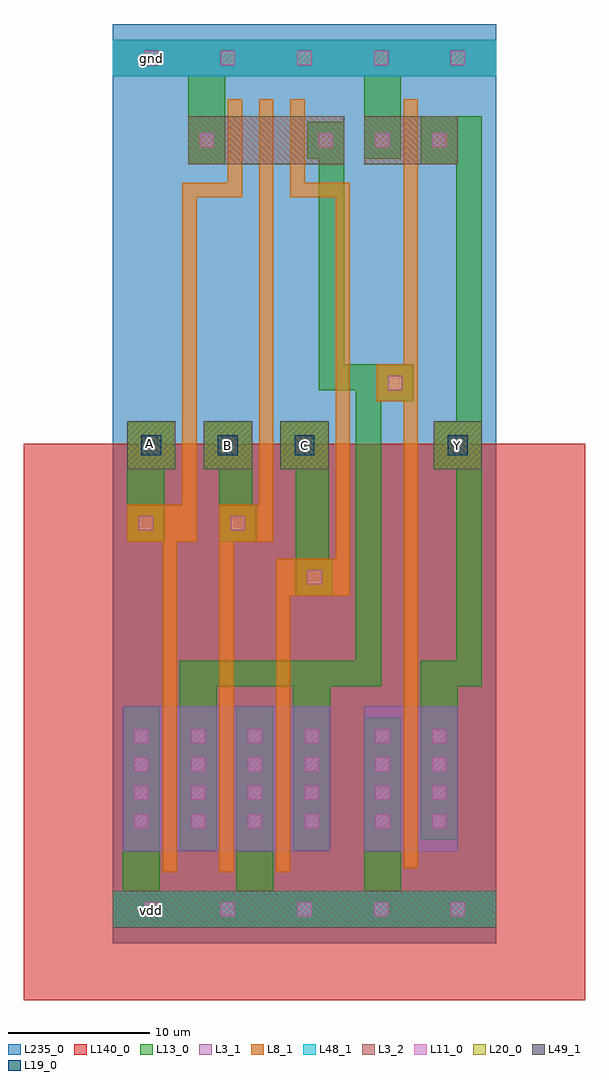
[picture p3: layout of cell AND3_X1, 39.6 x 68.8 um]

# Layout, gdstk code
import gdstk
lib = gdstk.Library(unit=1e-6, precision=1e-09)
def R(c, l, rs):  # rectangles x0, y0, x1, y1
    for r in rs: c.add(gdstk.rectangle(r[:2], r[2:], *l))
def A(c, l, x, y, w, h, nx, ny, dx, dy):  # array of equal rectangles
    R(c, l, [(x+i*dx, y+j*dy, x+i*dx+w, y+j*dy+h) for i in range(nx) for j in range(ny)])
def P(c, l, *ps):  # polygons
    for p in ps: c.add(gdstk.Polygon(p, *l))
L3_1 = (3, 1)
L3_2 = (3, 2)
L8_1 = (8, 1)
L11_0 = (11, 0)
L13_0 = (13, 0)
L19_0 = (19, 0)
L20_0 = (20, 0)
L48_1 = (48, 1)
L49_1 = (49, 1)
L140_0 = (140, 0)
L235_0 = (235, 0)

and3_x1 = lib.new_cell('AND3_X1')
R(and3_x1, L3_1, [(0.7,-58.3,7.3,-48.1), (4.7,-58.3,11.3,-48.1), (11.3,-58.3,15.3,-48.1), (17.7,-58.3,24.3,-48.1), (0,-3.7,27,-1.1)])
R(and3_x1, L3_2, [(0,-63.7,27,-61.1), (5.3,-9.9,16.3,-6.5), (17.7,-9.9,24.3,-6.5)])
P(and3_x1, L8_1, [(20.5,-59.5),(20.5,-26.6),(18.6,-26.6),(18.6,-24),(20.5,-24),(20.5,-5.3),(21.5,-5.3),(21.5,-59.5)],
  [(3.5,-59.8),(3.5,-36.5),(1,-36.5),(1,-33.9),(4.9,-33.9),(4.9,-11.2),(8.1,-11.2),(8.1,-5.3),(9.1,-5.3),(9.1,-12.2),(5.9,-12.2),(5.9,-36.5),(4.5,-36.5),(4.5,-59.8)],
  [(7.5,-59.8),(7.5,-33.9),(10.3,-33.9),(10.3,-5.3),(11.3,-5.3),(11.3,-36.5),(8.5,-36.5),(8.5,-59.8)],
  [(11.5,-59.8),(11.5,-37.7),(15.7,-37.7),(15.7,-12.2),(12.5,-12.2),(12.5,-5.3),(13.5,-5.3),(13.5,-11.2),(16.7,-11.2),(16.7,-40.3),(12.5,-40.3),(12.5,-59.8)])
A(and3_x1, L11_0, 13, -62.9, 1, 1, 3, 2, 5.4, 60)
A(and3_x1, L11_0, 1.5, -56.7, 1, 1, 4, 4, 4, 2)
A(and3_x1, L11_0, 18.5, -56.7, 1, 1, 1, 4, 0, 2)
A(and3_x1, L11_0, 22.5, -56.7, 1, 1, 1, 4, 0, 2)
A(and3_x1, L11_0, 14.5, -8.7, 1, 1, 3, 1, 4, 0)
R(and3_x1, L11_0, [(2.2,-62.9,3.2,-61.9), (2.2,-62.9,3.2,-61.9), (7.6,-62.9,8.6,-61.9), (7.6,-62.9,8.6,-61.9), (7.6,-62.9,8.6,-61.9), (7.6,-62.9,8.6,-61.9), (13,-62.9,14,-61.9), (13.7,-39.5,14.7,-38.5), (1.8,-35.7,2.8,-34.7), (8.3,-35.7,9.3,-34.7), (19.4,-25.8,20.4,-24.8), (6.1,-8.7,7.1,-7.7), (2.2,-2.9,3.2,-1.9), (7.6,-2.9,8.6,-1.9), (7.6,-2.9,8.6,-1.9), (13,-2.9,14,-1.9)])
R(and3_x1, L13_0, [(0,-63.7,27,-61.1), (0.7,-61.1,3.3,-48.1), (8.7,-61.1,11.3,-48.1), (17.7,-61.1,20.3,-48.9), (5.3,-9.9,7.9,-3.7), (17.7,-9.5,20.3,-3.7), (0,-3.7,27,-1.1)])
P(and3_x1, L13_0, [(1,-36.5),(1,-28),(4.4,-28),(4.4,-31.4),(3.6,-31.4),(3.6,-36.5)],
  [(7.5,-36.5),(7.5,-31.4),(6.4,-31.4),(6.4,-28),(9.8,-28),(9.8,-33.9),(10.1,-33.9),(10.1,-36.5)],
  [(12.9,-40.3),(12.9,-31.4),(11.8,-31.4),(11.8,-28),(15.2,-28),(15.2,-37.7),(15.5,-37.7),(15.5,-40.3)],
  [(21.7,-57.5),(21.7,-44.9),(24.2,-44.9),(24.2,-31.4),(22.6,-31.4),(22.6,-28),(24.2,-28),(24.2,-9.9),(21.7,-9.9),(21.7,-6.5),(26,-6.5),(26,-46.7),(24.3,-46.7),(24.3,-57.5)],
  [(4.7,-58.3),(4.7,-44.9),(17.1,-44.9),(17.1,-25.8),(14.5,-25.8),(14.5,-9.5),(13.7,-9.5),(13.7,-6.9),(16.3,-6.9),(16.3,-24),(21.2,-24),(21.2,-26.6),(18.9,-26.6),(18.9,-46.7),(15.3,-46.7),(15.3,-58.3),(12.7,-58.3),(12.7,-46.7),(7.3,-46.7),(7.3,-58.3)])
A(and3_x1, L19_0, 2, -30.4, 1.4, 1.4, 3, 1, 5.4, 0)
R(and3_x1, L19_0, [(23.6,-30.4,25,-29)])
A(and3_x1, L20_0, 1, -31.4, 3.4, 3.4, 3, 1, 5.4, 0)
R(and3_x1, L20_0, [(22.6,-31.4,26,-28)])
R(and3_x1, L48_1, [(0,-63.7,27,-61.1), (0,-3.7,27,-1.1)])
A(and3_x1, L49_1, 1, -31.4, 3.4, 3.4, 3, 1, 5.4, 0)
R(and3_x1, L49_1, [(22.6,-31.4,26,-28)])
R(and3_x1, L140_0, [(-6.3,-68.8,33.3,-29.6)])
R(and3_x1, L235_0, [(0,-64.8,27,0)])
and3_x1.add(gdstk.Label('gnd', (2.7,-2.4), layer=48, texttype=0))
and3_x1.add(gdstk.Label('vdd', (2.7,-62.5), layer=48, texttype=0))
and3_x1.add(gdstk.Label('Y', (24.3,-29.7), layer=49, texttype=0))
and3_x1.add(gdstk.Label('C', (13.5,-29.7), layer=49, texttype=0))
and3_x1.add(gdstk.Label('A', (2.6,-29.6), layer=49, texttype=0))
and3_x1.add(gdstk.Label('B', (8.1,-29.7), layer=49, texttype=0))

lib.write_gds('AND3_X1.gds')
